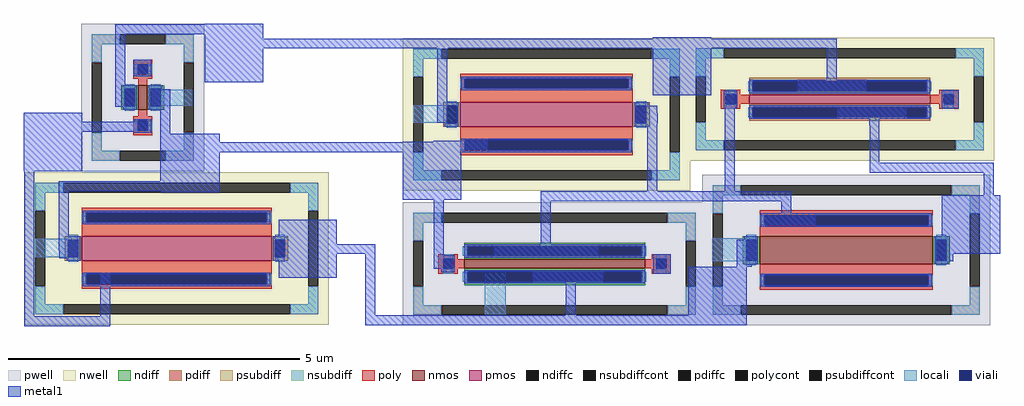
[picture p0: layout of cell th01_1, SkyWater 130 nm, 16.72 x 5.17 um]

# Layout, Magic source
magic
tech sky130A
magscale 1 2
<< metal1 >>
rect 881 2557 1619 2591
rect 773 2201 1586 2235
rect 1552 1999 1586 2201
rect 1177 1853 1351 1887
rect 1317 1643 1351 1853
rect 1317 1609 2145 1643
use preamp  preamp_0
transform 1 0 -250 0 1 1861
box 398 -255 1470 780
use th01  x1
transform 1 0 828 0 1 2776
box 618 -1168 2664 -180
<< end >>

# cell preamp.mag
magic
tech sky130A
magscale 1 2
<< locali >>
rect 834 500 976 554
rect 436 -20 582 44
<< metal1 >>
rect 1018 779 1218 780
rect 710 745 1218 779
rect 710 561 745 745
rect 774 600 834 658
rect 1018 580 1218 745
rect 710 497 777 561
rect 831 497 899 557
rect 710 496 744 497
rect 398 445 598 476
rect 398 411 829 445
rect 398 276 598 411
rect 865 404 899 497
rect 399 -221 433 276
rect 865 241 1068 404
rect 517 207 1068 241
rect 517 41 551 207
rect 868 204 1068 207
rect 517 7 583 41
rect 1270 40 1470 110
rect 518 -23 583 7
rect 1258 -18 1470 40
rect 660 -221 694 -78
rect 1270 -90 1470 -18
rect 399 -255 694 -221
use sky130_fd_pr__pfet_01v8_FP437E  XM0
transform 1 0 921 0 1 11
box -521 -261 521 261
use sky130_fd_pr__nfet_01v8_L7T3GD  XM1
transform 1 0 805 0 1 528
box -211 -252 211 252
<< labels >>
flabel metal1 1270 -90 1470 110 0 FreeSans 256 0 0 0 Vn
port 3 nsew
flabel metal1 1018 580 1218 780 0 FreeSans 256 0 0 0 Vp
port 0 nsew
flabel metal1 398 276 598 476 0 FreeSans 256 0 0 0 Vin
port 1 nsew
flabel metal1 868 204 1068 404 0 FreeSans 256 0 0 0 Vpamp
port 2 nsew
<< end >>

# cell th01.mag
magic
tech sky130A
magscale 1 2
<< pwell >>
rect 1476 -990 1536 -924
rect 1762 -958 1830 -874
rect 1762 -966 1814 -958
rect 1176 -1038 1210 -1004
<< locali >>
rect 654 -474 802 -414
rect 1678 -948 1828 -870
rect 898 -1130 970 -984
<< metal1 >>
rect 1474 -185 1674 -180
rect 736 -219 2105 -185
rect 736 -474 770 -219
rect 1474 -380 1674 -219
rect 2071 -331 2105 -219
rect 1971 -365 2205 -331
rect 1417 -441 1489 -415
rect 1417 -475 1491 -441
rect 724 -538 909 -535
rect 618 -569 909 -538
rect 618 -738 818 -569
rect 1455 -709 1489 -475
rect 1721 -709 1755 -371
rect 2107 -453 2345 -419
rect 2464 -424 2522 -362
rect 2216 -482 2251 -453
rect 2217 -611 2251 -482
rect 2217 -645 2643 -611
rect 1091 -728 1949 -709
rect 2609 -722 2643 -645
rect 724 -939 758 -738
rect 1090 -743 1949 -728
rect 1090 -895 1125 -743
rect 1915 -789 1949 -743
rect 1857 -823 2033 -789
rect 2464 -872 2664 -722
rect 931 -929 1287 -895
rect 1090 -930 1124 -929
rect 724 -973 791 -939
rect 724 -974 758 -973
rect 1063 -1017 1305 -983
rect 1476 -990 1536 -924
rect 1762 -958 1830 -874
rect 2446 -922 2664 -872
rect 2446 -948 2504 -922
rect 1762 -966 1814 -958
rect 1176 -1097 1211 -1017
rect 1177 -1133 1211 -1097
rect 1596 -1133 1796 -966
rect 1177 -1166 1796 -1133
rect 1177 -1167 1795 -1166
use sky130_fd_pr__pfet_01v8_3QB9EZ  XM2
transform 1 0 1110 0 1 -445
box -492 -261 492 261
use sky130_fd_pr__nfet_01v8_J2SMPG  XM3
transform 0 -1 1138 1 0 -957
box -211 -520 211 520
use sky130_fd_pr__nfet_01v8_G45C34  XM4
transform -1 0 2137 0 -1 -910
box -493 -258 493 258
use sky130_fd_pr__pfet_01v8_XA2NHL  XM5
transform 0 -1 2115 1 0 -393
box -211 -529 211 529
<< labels >>
flabel metal1 618 -738 818 -538 0 FreeSans 256 0 0 0 Vin
port 1 nsew
flabel metal1 2464 -922 2664 -722 0 FreeSans 256 0 0 0 Vout
port 2 nsew
flabel metal1 1596 -1166 1796 -966 0 FreeSans 256 0 0 0 Vn
port 3 nsew
flabel metal1 1474 -380 1674 -180 0 FreeSans 256 0 0 0 Vp
port 0 nsew
<< end >>

# cell sky130_fd_pr__pfet_01v8_3QB9EZ: kit device sky130_fd_pr__pfet_01v8, w 0.42 l 2.96 m 1 nf 1 diffcov 100 polycov 100 guard 1 glc 1 grc 1 gtc 1 gbc 1 tbcov 100 rlcov 100 topc 1 botc 1 poverlap 0 doverlap 1 lmin 0.15 wmin 0.42 compatible {sky130_fd_pr__pfet_01v8 sky130_fd_pr__pfet_01v8_lvt sky130_fd_pr__pfet_01v8_hvt sky130_fd_pr__pfet_g5v0d10v5} full_metal 1 viasrc 100 viadrn 100 viagate 100 viagb 0 viagr 0 viagl 0 viagt 0

# cell sky130_fd_pr__nfet_01v8_J2SMPG: kit device sky130_fd_pr__nfet_01v8, w 3.1 l 0.15 m 1 nf 1 diffcov 100 polycov 100 guard 1 glc 1 grc 1 gtc 1 gbc 1 tbcov 100 rlcov 100 topc 1 botc 1 poverlap 0 doverlap 1 lmin 0.15 wmin 0.42 compatible {sky130_fd_pr__nfet_01v8 sky130_fd_pr__nfet_01v8_lvt sky130_fd_bs_flash__special_sonosfet_star sky130_fd_pr__nfet_g5v0d10v5 sky130_fd_pr__nfet_05v0_nvt sky130_fd_pr__nfet_03v3_nvt} full_metal 1 viasrc 100 viadrn 100 viagate 100 viagb 0 viagr 0 viagl 0 viagt 0

# cell sky130_fd_pr__nfet_01v8_G45C34: kit device sky130_fd_pr__nfet_01v8, w 0.48 l 2.97 m 1 nf 1 diffcov 100 polycov 100 guard 1 glc 1 grc 1 gtc 1 gbc 1 tbcov 100 rlcov 100 topc 1 botc 1 poverlap 0 doverlap 1 lmin 0.15 wmin 0.42 compatible {sky130_fd_pr__nfet_01v8 sky130_fd_pr__nfet_01v8_lvt sky130_fd_bs_flash__special_sonosfet_star sky130_fd_pr__nfet_g5v0d10v5 sky130_fd_pr__nfet_05v0_nvt sky130_fd_pr__nfet_03v3_nvt} full_metal 1 viasrc 100 viadrn 100 viagate 100 viagb 0 viagr 0 viagl 0 viagt 0

# cell sky130_fd_pr__pfet_01v8_XA2NHL: kit device sky130_fd_pr__pfet_01v8, w 3.1 l 0.15 m 1 nf 1 diffcov 100 polycov 100 guard 1 glc 1 grc 1 gtc 1 gbc 1 tbcov 100 rlcov 100 topc 1 botc 1 poverlap 0 doverlap 1 lmin 0.15 wmin 0.42 compatible {sky130_fd_pr__pfet_01v8 sky130_fd_pr__pfet_01v8_lvt sky130_fd_pr__pfet_01v8_hvt sky130_fd_pr__pfet_g5v0d10v5} full_metal 1 viasrc 100 viadrn 100 viagate 100 viagb 0 viagr 0 viagl 0 viagt 0

# cell sky130_fd_pr__pfet_01v8_FP437E: kit device sky130_fd_pr__pfet_01v8, w 0.42 l 3.25 m 1 nf 1 diffcov 100 polycov 100 guard 1 glc 1 grc 1 gtc 1 gbc 1 tbcov 100 rlcov 100 topc 1 botc 1 poverlap 0 doverlap 1 lmin 0.15 wmin 0.42 compatible {sky130_fd_pr__pfet_01v8 sky130_fd_pr__pfet_01v8_lvt sky130_fd_pr__pfet_01v8_hvt sky130_fd_pr__pfet_g5v0d10v5} full_metal 1 viasrc 100 viadrn 100 viagate 100 viagb 0 viagr 0 viagl 0 viagt 0

# cell sky130_fd_pr__nfet_01v8_L7T3GD: kit device sky130_fd_pr__nfet_01v8, w 0.42 l 0.15 m 1 nf 1 diffcov 100 polycov 100 guard 1 glc 1 grc 1 gtc 1 gbc 1 tbcov 100 rlcov 100 topc 1 botc 1 poverlap 0 doverlap 1 lmin 0.15 wmin 0.42 compatible {sky130_fd_pr__nfet_01v8 sky130_fd_pr__nfet_01v8_lvt sky130_fd_bs_flash__special_sonosfet_star sky130_fd_pr__nfet_g5v0d10v5 sky130_fd_pr__nfet_05v0_nvt sky130_fd_pr__nfet_03v3_nvt} full_metal 1 viasrc 100 viadrn 100 viagate 100 viagb 0 viagr 0 viagl 0 viagt 0
